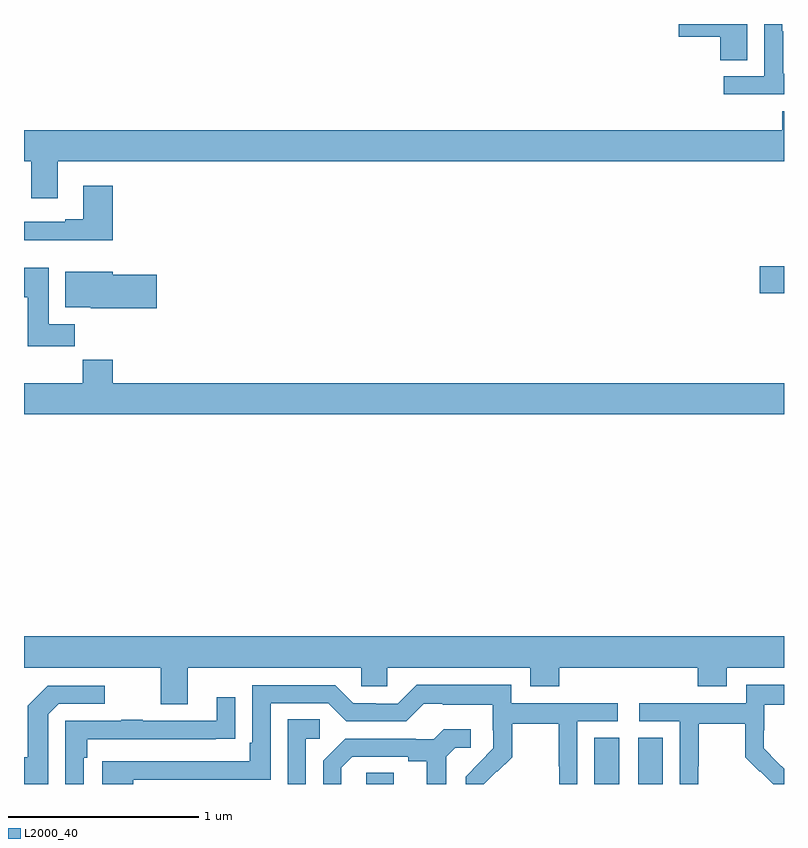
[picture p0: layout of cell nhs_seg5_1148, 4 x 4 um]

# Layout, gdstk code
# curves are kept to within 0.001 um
import gdstk
lib = gdstk.Library(unit=1e-6, precision=1e-09)
def R(c, l, rs):  # rectangles x0, y0, x1, y1
    for r in rs: c.add(gdstk.rectangle(r[:2], r[2:], *l))
def P(c, l, *ps):  # polygons
    for p in ps: c.add(gdstk.Polygon(p, *l))
L2000_40 = (2000, 40)

nhs_seg5_1148 = lib.new_cell('nhs_seg5_1148')
R(nhs_seg5_1148, L2000_40, [(182.802,870.799,182.947,870.857), (184.001,870.799,184.132,871.043), (184.232,870.799,184.363,871.043), (184.872,873.382,185,873.524)])
P(nhs_seg5_1148, L2000_40, [(184.807,874.799),(184.446,874.799),(184.446,874.733),(184.664,874.733),(184.664,874.609),(184.807,874.609)],
  [(185,874.537),(184.995,874.537),(184.995,874.76),(184.992,874.76),(184.992,874.799),(184.896,874.799),(184.896,874.524),(184.683,874.524),(184.683,874.428),(185,874.428)],
  [(181.177,874.076),(185,874.076),(185,874.339),(184.991,874.339),(184.991,874.24),(181,874.24),(181,874.076),(181.037,874.076),(181.037,873.882),(181.177,873.882)],
  [(181.466,873.949),(181.313,873.949),(181.313,873.772),(181.217,873.772),(181.217,873.759),(181,873.759),(181,873.662),(181.466,873.662)],
  [(181.268,873.22),(181.129,873.22),(181.129,873.517),(181,873.517),(181,873.361),(181.019,873.361),(181.019,873.102),(181.268,873.102)],
  [(181.699,873.479),(181.468,873.479),(181.468,873.496),(181.217,873.496),(181.217,873.308),(181.35,873.308),(181.35,873.302),(181.699,873.302)],
  [(185,872.908),(181.466,872.908),(181.466,873.032),(181.309,873.032),(181.309,872.908),(181,872.908),(181,872.744),(185,872.744)],
  [(181.861,871.412),(182.775,871.412),(182.775,871.314),(182.913,871.314),(182.913,871.412),(183.665,871.412),(183.665,871.313),(183.818,871.313),(183.818,871.412),(184.547,871.412),(184.547,871.313),(184.699,871.313),(184.699,871.412),(185,871.412),(185,871.576),(181,871.576),(181,871.412),(181.721,871.412),(181.721,871.218),(181.861,871.218)],
  [(184.548,870.892),(184.551,870.892),(184.551,871.116),(184.795,871.116),(184.795,870.941),(184.872,870.864),(184.875,870.867),(184.944,870.799),(185,870.799),(185,870.878),(184.894,870.986),(184.894,871.083),(184.896,871.083),(184.896,871.217),(185,871.217),(185,871.321),(184.8,871.321),(184.8,871.224),(184.239,871.224),(184.239,871.128),(184.452,871.128),(184.452,870.799),(184.548,870.799)],
  [(181.574,870.822),(182.298,870.822),(182.298,871.224),(182.601,871.224),(182.697,871.128),(183.012,871.128),(183.105,871.221),(183.205,871.221),(183.205,871.217),(183.468,871.217),(183.468,871.083),(183.47,871.083),(183.47,870.986),(183.324,870.838),(183.324,870.799),(183.421,870.799),(183.489,870.867),(183.492,870.864),(183.569,870.941),(183.569,871.116),(183.814,871.116),(183.814,870.892),(183.816,870.892),(183.816,870.799),(183.912,870.799),(183.912,871.128),(184.126,871.128),(184.126,871.224),(183.564,871.224),(183.564,871.321),(183.067,871.321),(182.967,871.221),(182.852,871.221),(182.852,871.224),(182.733,871.224),(182.637,871.32),(182.202,871.32),(182.202,871.015),(182.189,871.015),(182.189,870.918),(181.413,870.918),(181.413,870.799),(181.574,870.799)],
  [(181.128,871.167),(181.182,871.221),(181.426,871.221),(181.426,871.317),(181.125,871.317),(181.02,871.211),(181.02,870.939),(181,870.939),(181,870.799),(181.128,870.799)],
  [(181.314,870.938),(181.334,870.938),(181.334,871.035),(182.009,871.035),(182.009,871.036),(182.111,871.036),(182.111,871.255),(182.015,871.255),(182.015,871.131),(181.625,871.131),(181.625,871.136),(181.513,871.136),(181.513,871.131),(181.218,871.131),(181.218,870.799),(181.314,870.799)],
  [(182.484,871.038),(182.557,871.038),(182.557,871.139),(182.388,871.139),(182.388,870.799),(182.484,870.799)],
  [(182.671,870.885),(182.728,870.942),(183.023,870.942),(183.023,870.92),(183.119,870.92),(183.119,870.799),(183.223,870.799),(183.223,870.943),(183.27,870.99),(183.352,870.99),(183.352,871.087),(183.208,871.087),(183.156,871.035),(183.062,871.035),(183.062,871.038),(182.69,871.038),(182.574,870.922),(182.574,870.799),(182.671,870.799)])

lib.write_gds('nhs_seg5_1148.gds')
